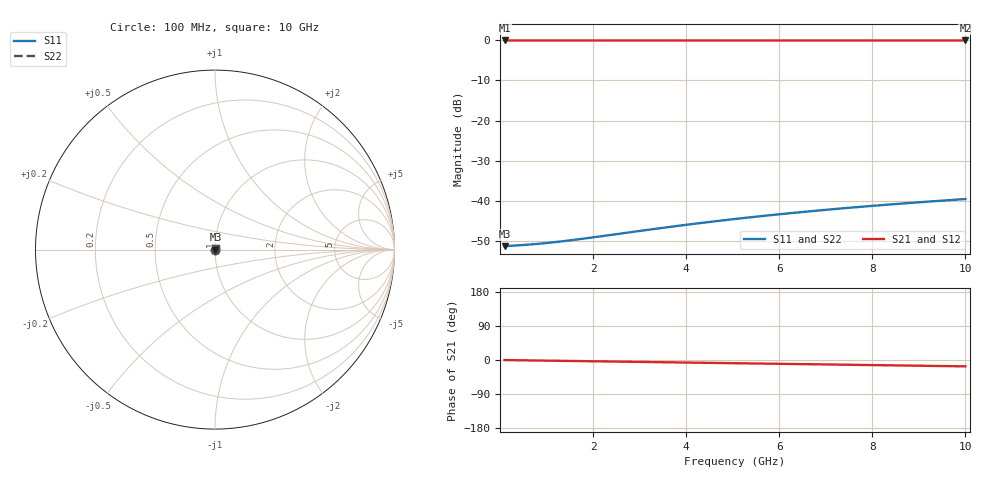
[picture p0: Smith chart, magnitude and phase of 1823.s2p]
# Hz S RI R 50.00
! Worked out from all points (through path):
!   100 points, 100 MHz to 10 GHz, reference 50 ohm
!   highest |S21| = -0.02 dB at 100 MHz (marker M1); lowest = 0.0 dB at 10 GHz (marker M2)
!   group delay of S21, straight-line fit = 4.66 ps
!   lowest |S11| = -51.3 dB at 100 MHz (marker M3), VSWR 1.01, Z = 50.3 + j0.00959 ohm
!   |S11| at or under -10 dB: start of sweep to end of sweep
!   |S22| runs from -51.3 to -39.6 dB; largest |S21 - S12| = 0
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1e8  0.00271 9.53e-05  0.9973 -0.00292  0.9973 -0.00292  0.00271 9.53e-05
5e8  0.00276 0.000476  0.9971 -0.0146  0.9971 -0.0146  0.00276 0.000476
7e8  0.00278 0.000666  0.997 -0.0204  0.997 -0.0204  0.00278 0.000666
9e8  0.0028 0.000855  0.9969 -0.0262  0.9969 -0.0262  0.0028 0.000855
1.1e9  0.00282 0.00104  0.9967 -0.0321  0.9967 -0.0321  0.00282 0.00104
1.3e9  0.00284 0.00123  0.9964 -0.0379  0.9964 -0.0379  0.00284 0.00123
1.5e9  0.00286 0.00142  0.9962 -0.0437  0.9962 -0.0437  0.00286 0.00142
1.8e9  0.0029 0.00171  0.9958 -0.0524  0.9958 -0.0524  0.0029 0.00171
3.4e9  0.00318 0.0032  0.9921 -0.099  0.9921 -0.099  0.00318 0.0032
3.9e9  0.00329 0.00365  0.9906 -0.1135  0.9906 -0.1135  0.00329 0.00365
4.3e9  0.00339 0.00402  0.9891 -0.125  0.9891 -0.125  0.00339 0.00402
4.7e9  0.0035 0.00438  0.9876 -0.1366  0.9876 -0.1366  0.0035 0.00438
5.1e9  0.00361 0.00474  0.9859 -0.1482  0.9859 -0.1482  0.00361 0.00474
5.5e9  0.00374 0.00509  0.9841 -0.1597  0.9841 -0.1597  0.00374 0.00509
5.9e9  0.00387 0.00544  0.9821 -0.1712  0.9821 -0.1712  0.00387 0.00544
6.3e9  0.00401 0.00579  0.98 -0.1827  0.98 -0.1827  0.00401 0.00579
6.7e9  0.00416 0.00613  0.9778 -0.1942  0.9778 -0.1942  0.00416 0.00613
7.5e9  0.00448 0.00681  0.9729 -0.217  0.9729 -0.217  0.00448 0.00681
7.9e9  0.00466 0.00714  0.9703 -0.2284  0.9703 -0.2284  0.00466 0.00714
8.4e9  0.00489 0.00755  0.9668 -0.2426  0.9668 -0.2426  0.00489 0.00755
9.2e9  0.00528 0.00818  0.9608 -0.2652  0.9608 -0.2652  0.00528 0.00818
1e10  0.0057 0.0088  0.9543 -0.2876  0.9543 -0.2876  0.0057 0.0088
